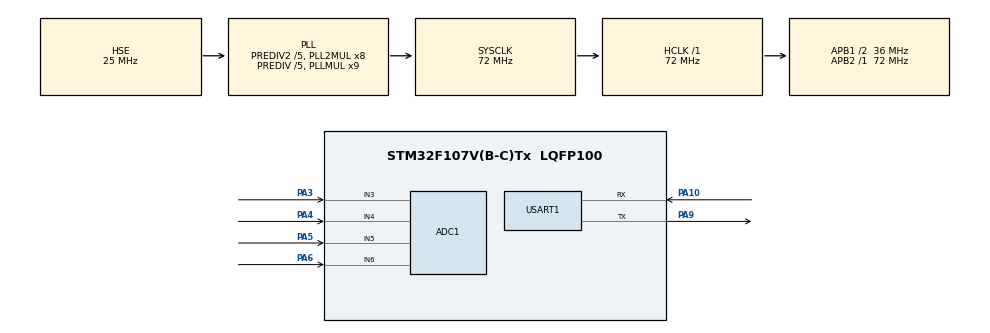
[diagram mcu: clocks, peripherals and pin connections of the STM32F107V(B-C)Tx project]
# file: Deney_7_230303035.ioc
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ADC1.Channel-0\#ChannelRegularConversion=ADC_CHANNEL_3
ADC1.Channel-1\#ChannelRegularConversion=ADC_CHANNEL_4
ADC1.Channel-2\#ChannelRegularConversion=ADC_CHANNEL_5
ADC1.Channel-3\#ChannelRegularConversion=ADC_CHANNEL_6
ADC1.ContinuousConvMode=ENABLE
ADC1.NbrOfConversion=4
ADC1.NbrOfConversionFlag=1
ADC1.Rank-0\#ChannelRegularConversion=1
ADC1.Rank-1\#ChannelRegularConversion=2
ADC1.Rank-2\#ChannelRegularConversion=3
ADC1.Rank-3\#ChannelRegularConversion=4
ADC1.SamplingTime-0\#ChannelRegularConversion=ADC_SAMPLETIME_71CYCLES_5
ADC1.SamplingTime-1\#ChannelRegularConversion=ADC_SAMPLETIME_71CYCLES_5
ADC1.SamplingTime-2\#ChannelRegularConversion=ADC_SAMPLETIME_71CYCLES_5
ADC1.SamplingTime-3\#ChannelRegularConversion=ADC_SAMPLETIME_71CYCLES_5
ADC1.master=1
Dma.ADC1.0.Direction=DMA_PERIPH_TO_MEMORY
Dma.ADC1.0.Instance=DMA1_Channel1
Dma.ADC1.0.MemDataAlignment=DMA_MDATAALIGN_WORD
Dma.ADC1.0.MemInc=DMA_MINC_ENABLE
Dma.ADC1.0.Mode=DMA_CIRCULAR
Dma.ADC1.0.PeriphDataAlignment=DMA_PDATAALIGN_WORD
Dma.ADC1.0.PeriphInc=DMA_PINC_DISABLE
Dma.ADC1.0.Priority=DMA_PRIORITY_LOW
Dma.Request0=ADC1
Mcu.Family=STM32F1
Mcu.Name=STM32F107V(B-C)Tx
Mcu.Package=LQFP100
NVIC.ADC1_2_IRQn=true\:0\:0\:false\:false\:true\:true\:true\:true
NVIC.DMA1_Channel1_IRQn=true\:0\:0\:false\:false\:true\:false\:true\:true
NVIC.PriorityGroup=NVIC_PRIORITYGROUP_4
OSC_IN.Mode=HSE-External-Oscillator
OSC_IN.Signal=RCC_OSC_IN
OSC_OUT.Mode=HSE-External-Oscillator
OSC_OUT.Signal=RCC_OSC_OUT
PA10.Mode=Asynchronous
PA10.Signal=USART1_RX
PA13.Mode=Serial_Wire
PA13.Signal=SYS_JTMS-SWDIO
PA14.Mode=Serial_Wire
PA14.Signal=SYS_JTCK-SWCLK
PA3.Signal=ADCx_IN3
PA4.Signal=ADCx_IN4
PA5.Signal=ADCx_IN5
PA6.Signal=ADCx_IN6
PA9.Mode=Asynchronous
PA9.Signal=USART1_TX
ProjectManager.HeapSize=0x200
ProjectManager.StackSize=0x400
ProjectManager.TargetToolchain=STM32CubeIDE
RCC.ADCPresc=RCC_ADCPCLK2_DIV8
RCC.AHBFreq_Value=72000000
RCC.APB1CLKDivider=RCC_HCLK_DIV2
RCC.APB1Freq_Value=36000000
RCC.APB1TimFreq_Value=72000000
RCC.APB2Freq_Value=72000000
RCC.APB2TimFreq_Value=72000000
RCC.HCLKFreq_Value=72000000
RCC.HSEDivPLL=RCC_HSE_PREDIV_DIV5
RCC.HSE_VALUE=25000000
RCC.PLLMUL=RCC_PLL_MUL9
RCC.PLLSourceVirtual=RCC_PLLSOURCE_HSE
RCC.Prediv1Source=RCC_PREDIV1_SOURCE_PLL2
RCC.Prediv2=RCC_HSE_PREDIV2_DIV5
RCC.SYSCLKFreq_VALUE=72000000
RCC.SYSCLKSource=RCC_SYSCLKSOURCE_PLLCLK
RCC.USBFreq_Value=48000000
SH.ADCx_IN3.0=ADC1_IN3,IN3
SH.ADCx_IN4.0=ADC1_IN4,IN4
SH.ADCx_IN5.0=ADC1_IN5,IN5
SH.ADCx_IN6.0=ADC1_IN6,IN6
USART1.VirtualMode=VM_ASYNC
board=custom

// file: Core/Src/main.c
/* USER CODE BEGIN Header */
/**
  ******************************************************************************
  * @file           : main.c
  * @brief          : Main program body
  ******************************************************************************
  * @attention
  *
  * Copyright (c) 2026 STMicroelectronics.
  * All rights reserved.
  *
  * This software is licensed under terms that can be found in the LICENSE file
  * in the root directory of this software component.
  * If no LICENSE file comes with this software, it is provided AS-IS.
  *
  ******************************************************************************
  */
/* USER CODE END Header */
#include "main.h"

/* USER CODE BEGIN Includes */
#include "stdio.h"
#include "string.h"
uint32_t ADC_buf[4];
uint32_t ADC_deger[4];
int adc_veri_hazir=0;
/* USER CODE END Includes */

ADC_HandleTypeDef hadc1;
DMA_HandleTypeDef hdma_adc1;

UART_HandleTypeDef huart1;

void SystemClock_Config(void);
static void MX_GPIO_Init(void);
static void MX_DMA_Init(void);
static void MX_ADC1_Init(void);
static void MX_USART1_UART_Init(void);

/* USER CODE BEGIN 0 */
void UART_Gonder(uint8_t * mesaj, int len){
	HAL_UART_Transmit(&huart1, mesaj, len, 0xFFF);
}

void DMA_ADC_Baslat(){
	HAL_ADCEx_Calibration_Start(&hadc1);
	HAL_ADC_Start_DMA(&hadc1, &ADC_buf[0], 4);
}

void HAL_ADC_ConvCpltCallback(ADC_HandleTypeDef* hadc){
	if(hadc->Instance==ADC1){
		if(adc_veri_hazir==0){
			ADC_deger[0]=ADC_buf[0];
			ADC_deger[1]=ADC_buf[1];
			ADC_deger[2]=ADC_buf[2];
			ADC_deger[3]=ADC_buf[3];
			adc_veri_hazir=1;
		}
	}
}
/* USER CODE END 0 */

int main(void)
{

  /* USER CODE BEGIN 1 */
char mesaj[200];
  /* USER CODE END 1 */

  /* MCU Configuration--------------------------------------------------------*/

  /* Reset of all peripherals, Initializes the Flash interface and the Systick. */
  HAL_Init();

  /* Configure the system clock */
  SystemClock_Config();

  /* Initialize all configured peripherals */
  MX_GPIO_Init();
  MX_DMA_Init();
  MX_ADC1_Init();
  MX_USART1_UART_Init();
  /* USER CODE BEGIN 2 */
DMA_ADC_Baslat();
  /* USER CODE END 2 */

  /* Infinite loop */
  /* USER CODE BEGIN WHILE */
  while (1)
  {
	  if(adc_veri_hazir==1)
	  {
	      sprintf(mesaj,
	              "ADC1=%lu ADC2=%lu ADC3=%lu ADC4=%lu\r\n",
	              ADC_deger[0],
	              ADC_deger[1],
	              ADC_deger[2],
	              ADC_deger[3]);

	      UART_Gonder((uint8_t *)mesaj, strlen(mesaj));
	      adc_veri_hazir = 0;
	  }
	  HAL_Delay(500);
    /* USER CODE END WHILE */

  }
}

void SystemClock_Config(void)
{
  RCC_OscInitTypeDef RCC_OscInitStruct = {0};
  RCC_ClkInitTypeDef RCC_ClkInitStruct = {0};
  RCC_PeriphCLKInitTypeDef PeriphClkInit = {0};

  /** Initializes the RCC Oscillators according to the specified parameters
  * in the RCC_OscInitTypeDef structure.
  */
  RCC_OscInitStruct.OscillatorType = RCC_OSCILLATORTYPE_HSE;
  RCC_OscInitStruct.HSEState = RCC_HSE_ON;
  RCC_OscInitStruct.HSEPredivValue = RCC_HSE_PREDIV_DIV5;
  RCC_OscInitStruct.HSIState = RCC_HSI_ON;
  RCC_OscInitStruct.Prediv1Source = RCC_PREDIV1_SOURCE_PLL2;
  RCC_OscInitStruct.PLL.PLLState = RCC_PLL_ON;
  RCC_OscInitStruct.PLL.PLLSource = RCC_PLLSOURCE_HSE;
  RCC_OscInitStruct.PLL.PLLMUL = RCC_PLL_MUL9;
  RCC_OscInitStruct.PLL2.PLL2State = RCC_PLL2_ON;
  RCC_OscInitStruct.PLL2.PLL2MUL = RCC_PLL2_MUL8;
  RCC_OscInitStruct.PLL2.HSEPrediv2Value = RCC_HSE_PREDIV2_DIV5;
  if (HAL_RCC_OscConfig(&RCC_OscInitStruct) != HAL_OK)
  {
    Error_Handler();
  }

  /** Initializes the CPU, AHB and APB buses clocks
  */
  RCC_ClkInitStruct.ClockType = RCC_CLOCKTYPE_HCLK|RCC_CLOCKTYPE_SYSCLK
                              |RCC_CLOCKTYPE_PCLK1|RCC_CLOCKTYPE_PCLK2;
  RCC_ClkInitStruct.SYSCLKSource = RCC_SYSCLKSOURCE_PLLCLK;
  RCC_ClkInitStruct.AHBCLKDivider = RCC_SYSCLK_DIV1;
  RCC_ClkInitStruct.APB1CLKDivider = RCC_HCLK_DIV2;
  RCC_ClkInitStruct.APB2CLKDivider = RCC_HCLK_DIV1;

  if (HAL_RCC_ClockConfig(&RCC_ClkInitStruct, FLASH_LATENCY_2) != HAL_OK)
  {
    Error_Handler();
  }
  PeriphClkInit.PeriphClockSelection = RCC_PERIPHCLK_ADC;
  PeriphClkInit.AdcClockSelection = RCC_ADCPCLK2_DIV8;
  if (HAL_RCCEx_PeriphCLKConfig(&PeriphClkInit) != HAL_OK)
  {
    Error_Handler();
  }

  /** Configure the Systick interrupt time
  */
  __HAL_RCC_PLLI2S_ENABLE();
}

static void MX_ADC1_Init(void)
{

  ADC_ChannelConfTypeDef sConfig = {0};

  /** Common config
  */
  hadc1.Instance = ADC1;
  hadc1.Init.ScanConvMode = ADC_SCAN_ENABLE;
  hadc1.Init.ContinuousConvMode = ENABLE;
  hadc1.Init.DiscontinuousConvMode = DISABLE;
  hadc1.Init.ExternalTrigConv = ADC_SOFTWARE_START;
  hadc1.Init.DataAlign = ADC_DATAALIGN_RIGHT;
  hadc1.Init.NbrOfConversion = 4;
  if (HAL_ADC_Init(&hadc1) != HAL_OK)
  {
    Error_Handler();
  }

  /** Configure Regular Channel
  */
  sConfig.Channel = ADC_CHANNEL_3;
  sConfig.Rank = ADC_REGULAR_RANK_1;
  sConfig.SamplingTime = ADC_SAMPLETIME_71CYCLES_5;
  if (HAL_ADC_ConfigChannel(&hadc1, &sConfig) != HAL_OK)
  {
    Error_Handler();
  }

  /** Configure Regular Channel
  */
  sConfig.Channel = ADC_CHANNEL_4;
  sConfig.Rank = ADC_REGULAR_RANK_2;
  if (HAL_ADC_ConfigChannel(&hadc1, &sConfig) != HAL_OK)
  {
    Error_Handler();
  }

  /** Configure Regular Channel
  */
  sConfig.Channel = ADC_CHANNEL_5;
  sConfig.Rank = ADC_REGULAR_RANK_3;
  if (HAL_ADC_ConfigChannel(&hadc1, &sConfig) != HAL_OK)
  {
    Error_Handler();
  }

  /** Configure Regular Channel
  */
  sConfig.Channel = ADC_CHANNEL_6;
  sConfig.Rank = ADC_REGULAR_RANK_4;
  if (HAL_ADC_ConfigChannel(&hadc1, &sConfig) != HAL_OK)
  {
    Error_Handler();
  }

}

static void MX_USART1_UART_Init(void)
{

  huart1.Instance = USART1;
  huart1.Init.BaudRate = 115200;
  huart1.Init.WordLength = UART_WORDLENGTH_8B;
  huart1.Init.StopBits = UART_STOPBITS_1;
  huart1.Init.Parity = UART_PARITY_NONE;
  huart1.Init.Mode = UART_MODE_TX_RX;
  huart1.Init.HwFlowCtl = UART_HWCONTROL_NONE;
  huart1.Init.OverSampling = UART_OVERSAMPLING_16;
  if (HAL_UART_Init(&huart1) != HAL_OK)
  {
    Error_Handler();
  }

}

static void MX_DMA_Init(void)
{

  /* DMA controller clock enable */
  __HAL_RCC_DMA1_CLK_ENABLE();

  /* DMA interrupt init */
  /* DMA1_Channel1_IRQn interrupt configuration */
  HAL_NVIC_SetPriority(DMA1_Channel1_IRQn, 0, 0);
  HAL_NVIC_EnableIRQ(DMA1_Channel1_IRQn);

}

static void MX_GPIO_Init(void)
{

  /* GPIO Ports Clock Enable */
  __HAL_RCC_GPIOA_CLK_ENABLE();

}

void Error_Handler(void)
{
  __disable_irq();
  while (1)
  {
  }
}
